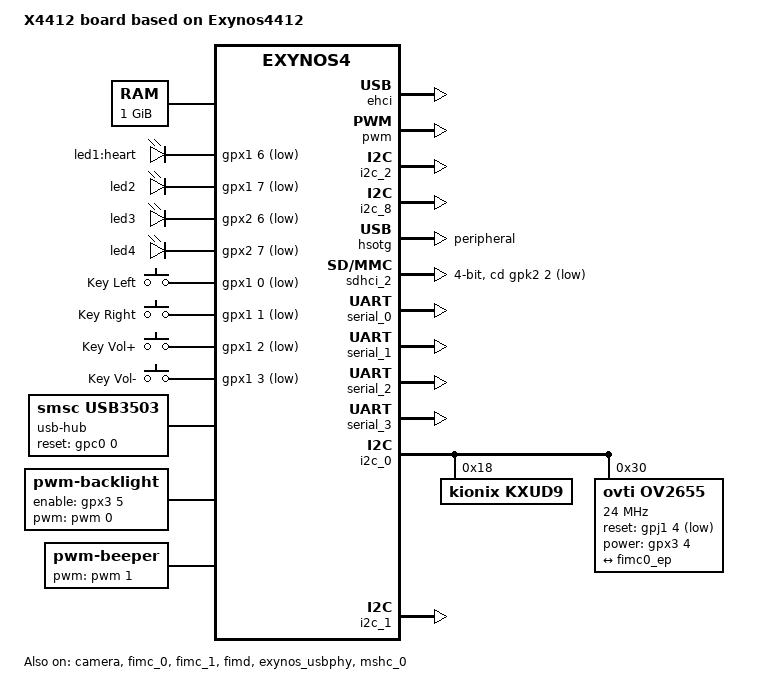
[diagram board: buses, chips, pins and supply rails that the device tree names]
/*
 * X4412 board device tree source
 *
 * Device tree source file for 9tripod's X4412 board which is based on
 * Samsung's Exynos4412 SoC.
 *
 * This program is free software; you can redistribute it and/or modify
 * it under the terms of the GNU General Public License version 2 as
 * published by the Free Software Foundation.
*/

/dts-v1/;
#include <dt-bindings/gpio/gpio.h>
#include <dt-bindings/input/input.h>
#include <dt-bindings/interrupt-controller/irq.h>
#include <dt-bindings/pwm/pwm.h>
#include "exynos4412.dtsi"
#include "exynos4412-ppmu-common.dtsi"
#include "exynos-mfc-reserved-memory.dtsi"

/ {
	model = "X4412 board based on Exynos4412";
	compatible = "9tripod,X4412", "samsung,exynos4412", "samsung,exynos4";

	memory@40000000 {
		device_type = "memory";
		reg = <0x40000000 0x40000000>;
	};

	chosen {
		bootargs = "console=ttySAC3,115200n8";
		stdout-path = &serial_3;
	};

	firmware@0203F000 {
		compatible = "samsung,secure-firmware";
		reg = <0x0203F000 0x1000>;
	};

	fixed-rate-clocks {
		xxti {
			compatible = "samsung,clock-xxti";
			clock-frequency = <0>;
		};

		xusbxti {
			compatible = "samsung,clock-xusbxti";
			clock-frequency = <24000000>;
		};
	};

	leds {
		compatible = "gpio-leds";
		led1 {
			label = "led1:heart";
			gpios = <&gpx1 6 GPIO_ACTIVE_LOW>;
			default-state = "on";
			linux,default-trigger = "heartbeat";
		};

		led2 {
			label = "led2";
			gpios = <&gpx1 7 GPIO_ACTIVE_LOW>;
			default-state = "off";
		};

		led3 {
			label = "led3";
			gpios = <&gpx2 6 GPIO_ACTIVE_LOW>;
			default-state = "off";
		};

		led4 {
			label = "led4";
			gpios = <&gpx2 7 GPIO_ACTIVE_LOW>;
			default-state = "off";
			linux,default-trigger = "timer";
		};
	};

	gpio-keys {
		compatible = "gpio-keys";

		left {
			label = "Key Left";
			linux,code = <KEY_LEFT>;
			gpios = <&gpx1 0 GPIO_ACTIVE_LOW>;
		};

		right {
			label = "Key Right";
			linux,code = <KEY_RIGHT>;
			gpios = <&gpx1 1 GPIO_ACTIVE_LOW>;
		};

		vol-up {
			label = "Key Vol+";
			linux,code = <KEY_UP>;
			gpios = <&gpx1 2 GPIO_ACTIVE_LOW>;
		};

		vol-down {
			label = "Key Vol-";
			linux,code = <KEY_DOWN>;
			gpios = <&gpx1 3 GPIO_ACTIVE_LOW>;
		};
	};


	usb-hub {
		compatible = "smsc,usb3503";
		reset-gpios = <&gpc0 0 GPIO_ACTIVE_HIGH>;
	};

	backlight: lcd-blacklight {
		compatible = "pwm-backlight";
		enable-gpio = <&gpx3 5 GPIO_ACTIVE_HIGH>;
		pwms = <&pwm 0 1000000 0>;
		brightness-levels = <0 100 500 1000 1500 2000 2500 3000>;
		default-brightness-level = <7>;
	};

	beeper {
		compatible = "pwm-beeper";
		pwms = <&pwm 1 100000 0>;
		beeper-hz = <1000>;
	};
};

&camera {
	pinctrl-names = "default";
	pinctrl-0 = <&cam_port_a_clk_active>;
	status = "okay";
	assigned-clocks = <&clock CLK_MOUT_CAM0>;
	assigned-clock-parents = <&clock CLK_XUSBXTI>;

	parallel-ports {
		#address-cells = <1>;
		#size-cells = <0>;

		port@1 {
			#address-cells = <1>;
			#size-cells = <0>;
			reg = <1>;
			
			fimc0_ep: endpoint@0 {
				bus-type = <0>;
				reg = <0>;
				remote-endpoint = <&ov2655_ep>;
				bus-width = <8>;
			};
		};
	};
};

&fimc_0 {
	status = "okay";
	assigned-clocks = <&clock CLK_MOUT_FIMC1>,
	<&clock CLK_SCLK_FIMC1>;
	assigned-clock-parents = <&clock CLK_MOUT_MPLL_USER_T>;
	assigned-clock-rates = <0>, <176000000>;
};

&fimc_1 {
	status = "okay";
	assigned-clocks = <&clock CLK_MOUT_FIMC1>,
	<&clock CLK_SCLK_FIMC1>;
	assigned-clock-parents = <&clock CLK_MOUT_MPLL_USER_T>;
	assigned-clock-rates = <0>, <176000000>;
};

&fimd {
	status = "okay";

	samsung,vl-col = <1024>;
	samsung,vl-row = <600>;
	samsung,vl-freq = <60>;

	samsung,vl-vbpd = <20>;
	samsung,vl-vfpd = <12>;
	samsung,vl-vspw = <3>;
	samsung,vl-hbpd = <140>;
	samsung,vl-hfpd = <160>;
	samsung,vl-hspw = <20>;

	samsung,interface-mode = <1>;
	samsung,rgb-mode = <0>;

	samsung,vl-max-bpp = /bits/ 16 <32>;
	samsung,vl-default-bpp = /bits/ 16 <24>;
	samsung,vl-xres = /bits/ 16 <1024>;
	samsung,vl-yres = /bits/ 16 <600>;
	samsung,vl-virtual-x = /bits/ 16  <1920>;
	samsung,vl-virtual-y = /bits/ 16  <1080>;
};

&ehci {
	status = "okay";

	port@1 {
		status = "okay";
	};
};

&pwm {
	status = "okay";
	pinctrl-0 = <&pwm0_out &pwm1_out>;
	pinctrl-names = "default";
	samsung,pwm-outputs = <0>, <1>;
};

&i2c_2 {
	status = "okay";
};

&i2c_8 {
	status = "okay";
};

&exynos_usbphy {
	status = "okay";
};

&hsotg {
	dr_mode = "peripheral";
	status="okay";
};

&mshc_0 {
	pinctrl-0 = <&sd4_clk &sd4_cmd &sd4_bus4 &sd4_bus8>;
	pinctrl-names = "default";
	status = "okay";

	cd-gpio= <&gpk0 2 GPIO_ACTIVE_HIGH>;
	clock-frequency = <400000000>;
	samsung,dw-mshc-ciu-div = <0>;
	samsung,dw-mshc-sdr-timing = <2 3>;
	samsung,dw-mshc-ddr-timing = <1 2>;
	bus-width = <8>;
	cap-mmc-highspeed;
};

&sdhci_2 {
	bus-width = <4>;
	pinctrl-0 = <&sd2_clk &sd2_cmd &sd2_cd &sd2_bus4>;
	pinctrl-names = "default";
	cd-gpios = <&gpk2 2 GPIO_ACTIVE_HIGH>;
	cd-inverted;
	card-detect-delay = <200>;
	cap-sd-highspeed;
	status = "okay";
};

&serial_0 {
	status = "okay";
};

&serial_1 {
	status = "okay";
};

&serial_2 {
	status = "okay";
};

&serial_3 {
	status = "okay";
};

&i2c_0 {
	status = "okay";
	samsung,i2c-sda-delay = <100>;
	samsung,i2c-max-bus-freq = <400000>;
	pinctrl-0 = <&i2c0_bus>;
	pinctrl-names = "default";

	kxud9@18 {
		compatible = "kionix,kxud9";
		reg = <0x18>;
	};

	ov2655@30 {
		compatible = "ovti,ov2655";
		reg = <0x30>;
		clock-frequency = <24000000>;
		clocks = <&camera 0>;
		clock-names = "xvclk";
		reset-gpio = <&gpj1 4 GPIO_ACTIVE_LOW>;
		power-gpio = <&gpx3 4 GPIO_ACTIVE_HIGH>;

		port {
			ov2655_ep: endpoint {
				remote-endpoint = <&fimc0_ep>;
				bus-width = <8>;
			};
		};
	};
};

&i2c_1 {
	status = "okay";
	pinctrl-0 = <&i2c1_bus>;
	pinctrl-names = "default";

	gsl1680@40 {
		compatible = "silead,gsl1680";
		reg = <0x40>;
		interrupt-parent = <&gpx0>;
		interrupts = <7 IRQ_TYPE_EDGE_FALLING>;
		power-gpios = <&gpx0 6 GPIO_ACTIVE_LOW>;
		touchscreen-size-x = <1024>;
		touchscreen-size-y = <600>;
		silead,max-fingers = <5>;
		firmware-name = "silead-gsl1680.fw";
		status = "disabled";
	};
};
